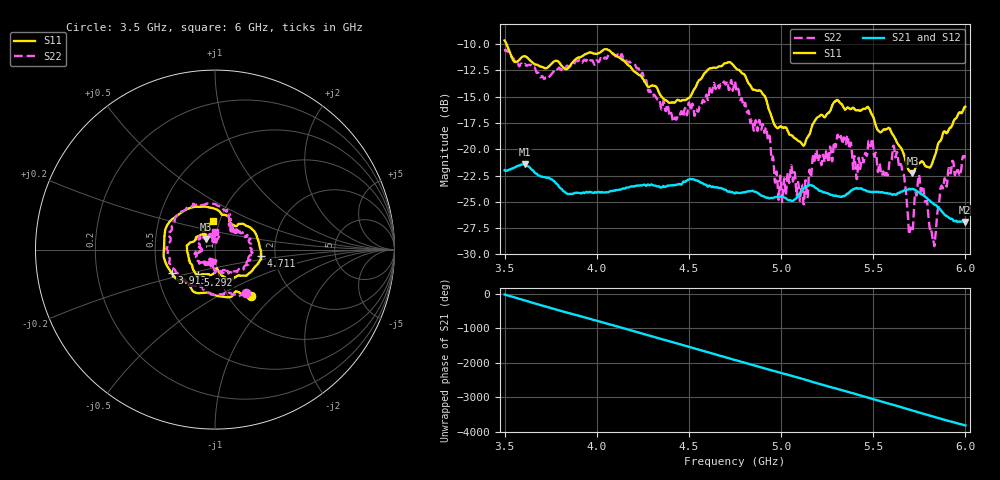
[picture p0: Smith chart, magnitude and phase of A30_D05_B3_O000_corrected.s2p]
! Created with skrf 1.9.0 (http://scikit-rf.org).
# Hz S RI R 50.0
!freq ReS11 ImS11 ReS21 ImS21 ReS12 ImS12 ReS22 ImS22
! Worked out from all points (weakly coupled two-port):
!   1601 points, 3.5 GHz to 6 GHz, reference 50 ohm
!   highest |S21| = -21.42 dB at 3.609 GHz (marker M1); lowest = -26.9 dB at 5.995 GHz (marker M2)
!   lowest |S11| = -22.3 dB at 5.713 GHz (marker M3), VSWR 1.17, Z = 45.1 + j5.43 ohm
!   |S11| at or under -10 dB: 3.51 GHz to end of sweep
!   |S22| runs from -29.2 to -10.5 dB; largest |S21 - S12| = 0.00093
!   S11 on the Smith chart (normalised r, x): 3.5 GHz: 1.27, -0.74; 3.913 GHz: 0.59, -0.17; 4.711 GHz: 1.68, -0.13; 5.292 GHz: 0.80, -0.23; 6 GHz: 0.93, +0.30
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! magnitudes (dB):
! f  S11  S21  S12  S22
! 3.5 GHz  -9.6  -22.0  -22.0  -10.5
! 3.609 GHz  -11.1  -21.4  -21.4  -11.9
! 3.913 GHz  -11.2  -24.2  -24.1  -11.5
! 3.917 GHz  -11.2  -24.2  -24.2  -11.7
! 4.144 GHz  -11.5  -23.7  -23.7  -11.3
! 4.334 GHz  -14.5  -23.5  -23.5  -15.4
! 4.423 GHz  -15.6  -23.4  -23.4  -17.0
! 4.711 GHz  -11.7  -24.0  -24.0  -13.7
! 4.75 GHz  -12.2  -24.2  -24.1  -13.6
! 4.928 GHz  -15.9  -24.6  -24.6  -19.1
! 4.997 GHz  -17.8  -24.5  -24.5  -22.6
! 5.133 GHz  -19.3  -23.6  -23.5  -22.9
! 5.167 GHz  -17.8  -23.5  -23.4  -21.8
! 5.292 GHz  -15.5  -24.4  -24.4  -19.6
! 5.584 GHz  -18.0  -24.2  -24.2  -21.8
! 5.62 GHz  -19.0  -24.3  -24.3  -20.8
! 5.713 GHz  -22.3  -23.8  -23.7  -27.9
! 5.755 GHz  -21.3  -24.2  -24.2  -23.4
! 5.83 GHz  -20.9  -25.2  -25.2  -29.0
! 5.877 GHz  -18.6  -26.0  -26.0  -23.7
! 5.995 GHz  -16.0  -26.9  -26.8  -20.8
! 6 GHz  -16.0  -26.9  -26.9  -20.2
